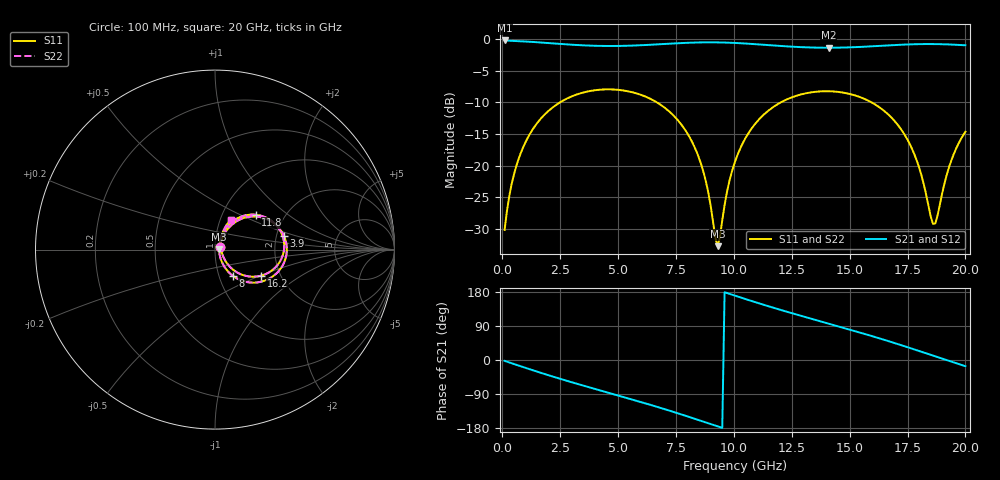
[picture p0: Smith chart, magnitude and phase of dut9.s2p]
! Touchstone file exported from HFSS 2026.1.0
!  File:  C:/ffzhzh/LocalFiles/Ansys_Project_Files/temp_val_TSV_RDL_9_1782976369_45568.aedt
!  Generated:  03:24:37 PM Jul  2, 2026
!  Design:  TSV_RDL
!  Project:  temp_val_TSV_RDL_9_1782976369_45568
! Variables:
!  h_bsmrdl = 5.22um
!  h_ox = 20um
!  h_rdl = 5um
!  h_sub = 68.67um
!  h_tmrdl = 3.47um
!  h_tsv = 68.67um
!  h_via = 3um
!  l_bsmrdl = 797.47um
!  l_sub = 6525.42um
!  l_tmrdl = 900.53um
!  m_sub = 200um
!  pitch = 38.57um
!  r_tsv = 9.38um
!  s_tmrdl = 10um
!  w_bsmrdl = 21.97um
!  w_sub = 500um
!  w_tmrdl = 21.66um
!  x_tsv_center1 = 911.36um
!  x_tsv_center2 = 1730.8um
!  x_tsv_center3 = 2652.99um
!  x_tsv_center4 = 3472.43um
!  x_tsv_center5 = 4394.62um
!  x_tsv_center6 = 5214.06um
# GHz S MA R 50.000000
! Terminal data exported
! Port[1] = TM_RDL1_1_T1
! Port[2] = TM_RDL5_1_T1
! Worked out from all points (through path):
!   200 points, 100 MHz to 20 GHz, reference 50 ohm
!   highest |S21| = -0.23 dB at 100 MHz (marker M1); lowest = -1.4 dB at 14.1 GHz (marker M2)
!   group delay of S21, straight-line fit = 51.7 ps
!   lowest |S11| = -32.7 dB at 9.3 GHz (marker M3), VSWR 1.05, Z = 52.4 + j0.126 ohm
!   |S11| at or under -10 dB: start of sweep to 2.498 GHz; 6.671 GHz to 12.04 GHz (5.366 GHz wide, 57.4 % of centre); 15.94 GHz to end of sweep
!   |S22| runs from -32.9 to -8.0 dB; largest |S21 - S12| = 1.8e-14
!   S11 on the Smith chart (normalised r, x): 100 MHz: 1.05, +0.04; 3.9 GHz: 2.19, +0.40; 8 GHz: 1.17, -0.35; 11.8 GHz: 1.43, +0.61; 16.2 GHz: 1.60, -0.51; 20 GHz: 1.12, +0.38
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0.1  0.031 32.5  0.9744 -2.2  0.9744 -2.2  0.031 32.5
! Gamma 0 0 0 0
! Port Impedance 50 0 50 0
0.5  0.08459 58.4  0.9666 -10.6  0.9666 -10.6  0.08459 58.4
1.2  0.1787 54.8  0.9515 -24.7  0.9515 -24.7  0.1788 54.8
3.5  0.3778 18.0  0.8913 -67.6  0.8913 -67.6  0.3779 17.9
3.9  0.3913 11.4  0.8854 -74.6  0.8854 -74.6  0.3914 11.4
5.4  0.3872 -13.0  0.8848 -100.5  0.8848 -100.5  0.3872 -13.1
6.8  0.3056 -36.3  0.9094 -125.7  0.9094 -125.7  0.3056 -36.4
8  0.1786 -55.5  0.9337 -148.9  0.9337 -148.9  0.1786 -55.7
8.7  0.08724 -61.2  0.9411 -162.9  0.9411 -162.9  0.08717 -61.5
9.3  0.02305 3.0  0.9408 -175.1  0.9408 -175.1  0.02254 2.9
9.7  0.06134 61.9  0.9369 176.8  0.9369 176.8  0.06111 62.3
10.1  0.1137 64.5  0.9304 168.8  0.9304 168.8  0.1136 64.8
10.8  0.2 56.4  0.9141 155.0  0.9141 155.0  0.1999 56.5
11.8  0.2982 40.6  0.8869 136.2  0.8869 136.2  0.2982 40.7
13.4  0.3803 14.9  0.8565 107.9  0.8565 107.9  0.3804 15.0
14.1  0.3866 3.9  0.8533 95.9  0.8533 95.9  0.3867 3.9
16.2  0.2961 -29.3  0.8806 58.8  0.8806 58.8  0.2962 -29.3
16.7  0.2502 -37.0  0.8912 49.4  0.8912 49.4  0.2503 -36.9
17.8  0.1223 -49.2  0.9096 27.8  0.9096 27.8  0.1224 -49.1
18.6  0.03458 -1.5  0.9126 11.7  0.9126 11.7  0.03484 -1.5
19.4  0.1107 65.9  0.9043 -4.5  0.9043 -4.5  0.1107 65.8
20  0.1851 62.0  0.8921 -16.4  0.8921 -16.4  0.1852 61.9
